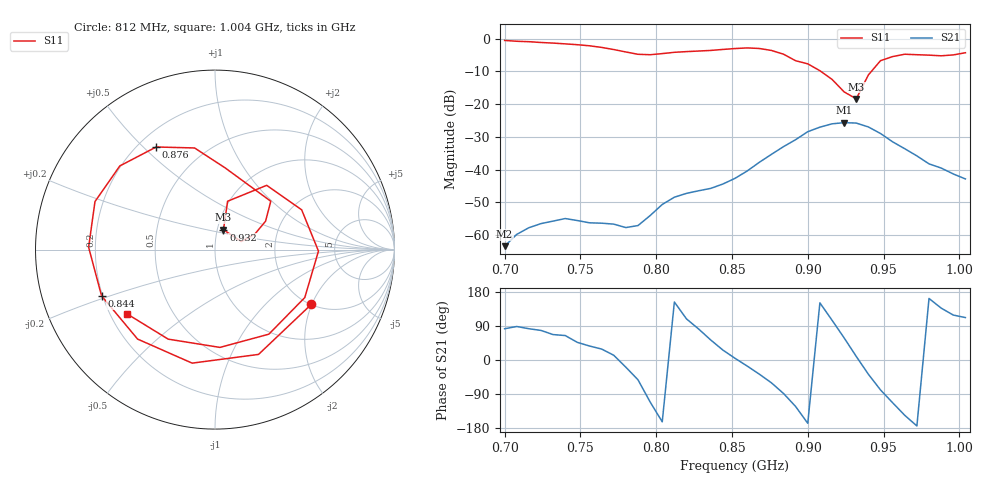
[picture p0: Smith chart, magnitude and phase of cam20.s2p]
# Hz S RI R 50
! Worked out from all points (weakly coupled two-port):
!   39 points, 700 MHz to 1.004 GHz, reference 50 ohm
!   highest |S21| = -25.68 dB at 924 MHz (marker M1); lowest = -63.4 dB at 700 MHz (marker M2)
!   lowest |S11| = -18.4 dB at 932 MHz (marker M3), VSWR 1.27, Z = 53.5 + j12 ohm
!   |S11| at or under -10 dB: 908.6 MHz to 942 MHz (33.47 MHz wide, 3.62 % of centre)
!   S12 and S22 are empty: the file has one direction only
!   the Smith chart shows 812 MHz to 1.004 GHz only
!   S11 on the Smith chart (normalised r, x): 812 MHz: 2.01, -1.98; 844 MHz: 0.20, -0.19; 876 MHz: 0.27, +0.55; 932 MHz: 1.07, +0.24; 1.004 GHz: 0.27, -0.30
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7e8  0.7672 0.5363  8.86e-05 0.000669  0 0  0 0
7.24e8  0.8322 -0.2582  0.000309 0.00146  0 0  0 0
7.4e8  0.4433 -0.702  0.000768 0.00161  0 0  0 0
7.56e8  -0.199 -0.7502  0.00123 0.000922  0 0  0 0
7.72e8  -0.6538 -0.1876  0.00143 0.000318  0 0  0 0
7.8e8  -0.5787 0.2339  0.00123 -0.000424  0 0  0 0
7.88e8  -0.221 0.5314  0.000854 -0.0011  0 0  0 0
7.96e8  0.2666 0.5002  -0.000699 -0.00185  0 0  0 0
8.04e8  0.5729 0.1383  -0.0028 -0.000846  0 0  0 0
8.12e8  0.5361 -0.3056  -0.00337 0.00171  0 0  0 0
8.28e8  -0.1274 -0.6325  0.000673 0.00469  0 0  0 0
8.44e8  -0.6319 -0.2578  0.00538 0.00266  0 0  0 0
8.52e8  -0.7041 0.0132  0.00731 0.000575  0 0  0 0
8.76e8  -0.3276 0.5717  0.00847 -0.0148  0 0  0 0
9e8  0.3108 0.2695  -0.0369 -0.0085  0 0  0 0
9.08e8  0.2817 0.1581  -0.0387 0.0216  0 0  0 0
9.24e8  0.1466 0.0452  0.0273 0.0443  0 0  0 0
9.32e8  0.0471 0.1104  0.0505 0.00839  0 0  0 0
9.48e8  0.2881 0.3581  0.00676 -0.0348  0 0  0 0
9.56e8  0.4828 0.2217  -0.0103 -0.0244  0 0  0 0
9.8e8  0.3003 -0.4711  -0.0116 0.00369  0 0  0 0
1.004e9  -0.4919 -0.3569  -0.00268 0.00666  0 0  0 0
